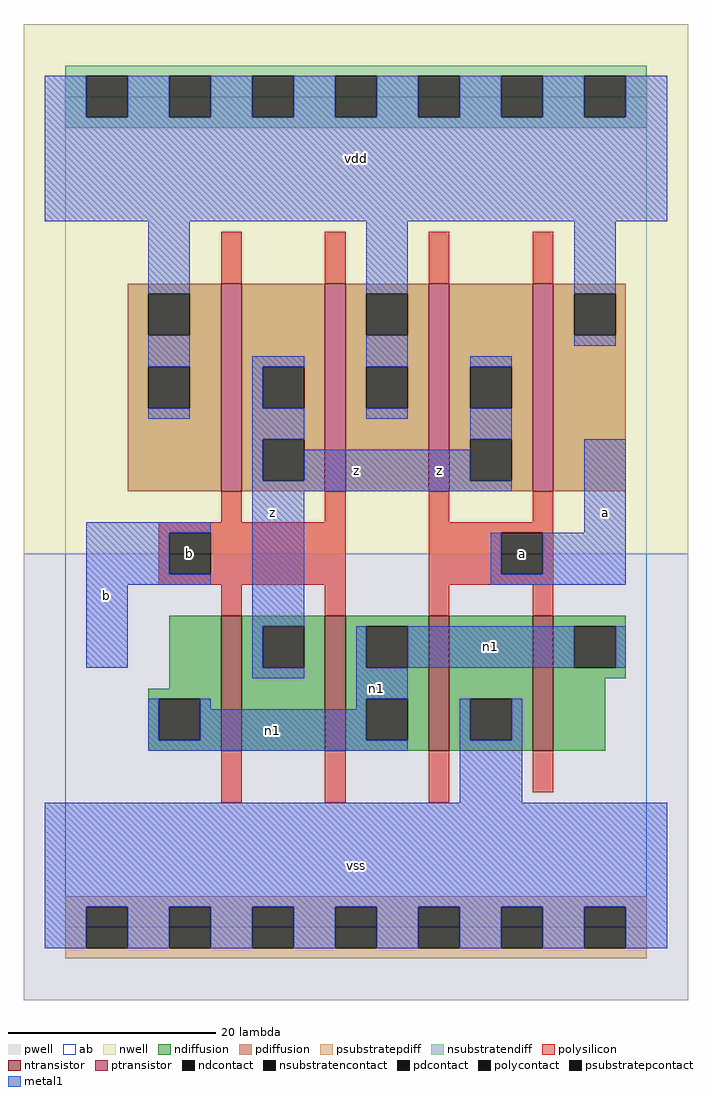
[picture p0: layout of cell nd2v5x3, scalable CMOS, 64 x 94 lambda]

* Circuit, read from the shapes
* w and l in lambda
.subckt nd2v5x3 a b n1 vdd vss z
M1 z b n1 vss nfet w=13 l=2 m=2
M2 vss a n1 vss nfet w=13 l=2 m=2
M3 z b vdd vdd pfet w=20 l=2 m=2
M4 z a vdd vdd pfet w=20 l=2 m=2
.ends

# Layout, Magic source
magic
tech scmos
<< ab >>
rect 0 0 56 80
<< pwell >>
rect -4 -7 60 36
<< nwell >>
rect -4 36 60 87
<< polysilicon >>
rect 15 62 17 67
rect 25 62 27 67
rect 35 62 37 67
rect 45 62 47 67
rect 15 39 17 42
rect 25 39 27 42
rect 9 38 27 39
rect 9 34 10 38
rect 14 34 27 38
rect 9 33 27 34
rect 15 30 17 33
rect 25 30 27 33
rect 35 39 37 42
rect 45 39 47 42
rect 35 38 47 39
rect 35 34 42 38
rect 46 34 47 38
rect 35 33 47 34
rect 35 30 37 33
rect 45 30 47 33
rect 15 12 17 17
rect 25 12 27 17
rect 35 12 37 17
rect 45 13 47 17
<< ndiffusion >>
rect 10 23 15 30
rect 8 22 15 23
rect 8 18 9 22
rect 13 18 15 22
rect 8 17 15 18
rect 17 29 25 30
rect 17 25 19 29
rect 23 25 25 29
rect 17 17 25 25
rect 27 29 35 30
rect 27 25 29 29
rect 33 25 35 29
rect 27 22 35 25
rect 27 18 29 22
rect 33 18 35 22
rect 27 17 35 18
rect 37 22 45 30
rect 37 18 39 22
rect 43 18 45 22
rect 37 17 45 18
rect 47 29 54 30
rect 47 25 49 29
rect 53 25 54 29
rect 47 24 54 25
rect 47 17 52 24
<< pdiffusion >>
rect 6 61 15 62
rect 6 57 8 61
rect 12 57 15 61
rect 6 54 15 57
rect 6 50 8 54
rect 12 50 15 54
rect 6 42 15 50
rect 17 54 25 62
rect 17 50 19 54
rect 23 50 25 54
rect 17 47 25 50
rect 17 43 19 47
rect 23 43 25 47
rect 17 42 25 43
rect 27 61 35 62
rect 27 57 29 61
rect 33 57 35 61
rect 27 54 35 57
rect 27 50 29 54
rect 33 50 35 54
rect 27 42 35 50
rect 37 54 45 62
rect 37 50 39 54
rect 43 50 45 54
rect 37 47 45 50
rect 37 43 39 47
rect 43 43 45 47
rect 37 42 45 43
rect 47 61 54 62
rect 47 57 49 61
rect 53 57 54 61
rect 47 42 54 57
<< metal1 >>
rect -2 78 2 82
rect 6 78 10 82
rect 14 78 18 82
rect 22 78 26 82
rect 30 78 34 82
rect 38 78 42 82
rect 46 78 50 82
rect 54 78 58 82
rect -2 68 58 78
rect 8 61 12 68
rect 8 54 12 57
rect 29 61 33 68
rect 8 49 12 50
rect 18 54 23 55
rect 18 50 19 54
rect 18 47 23 50
rect 29 54 33 57
rect 49 61 53 68
rect 49 56 53 57
rect 29 49 33 50
rect 39 54 43 55
rect 18 43 19 47
rect 39 47 43 50
rect 23 43 39 46
rect 18 42 43 43
rect 2 38 14 39
rect 2 34 10 38
rect 2 33 14 34
rect 2 25 6 33
rect 18 29 23 42
rect 50 38 54 47
rect 41 34 42 38
rect 46 34 54 38
rect 41 33 54 34
rect 18 25 19 29
rect 18 24 23 25
rect 28 25 29 29
rect 33 25 49 29
rect 53 25 54 29
rect 28 22 33 25
rect 8 18 9 22
rect 13 21 14 22
rect 28 21 29 22
rect 13 18 29 21
rect 8 17 33 18
rect 38 18 39 22
rect 43 18 44 22
rect 38 12 44 18
rect -2 2 58 12
rect -2 -2 2 2
rect 6 -2 10 2
rect 14 -2 18 2
rect 22 -2 26 2
rect 30 -2 34 2
rect 38 -2 42 2
rect 46 -2 50 2
rect 54 -2 58 2
<< ntransistor >>
rect 15 17 17 30
rect 25 17 27 30
rect 35 17 37 30
rect 45 17 47 30
<< ptransistor >>
rect 15 42 17 62
rect 25 42 27 62
rect 35 42 37 62
rect 45 42 47 62
<< polycontact >>
rect 10 34 14 38
rect 42 34 46 38
<< ndcontact >>
rect 9 18 13 22
rect 19 25 23 29
rect 29 25 33 29
rect 29 18 33 22
rect 39 18 43 22
rect 49 25 53 29
<< pdcontact >>
rect 8 57 12 61
rect 8 50 12 54
rect 19 50 23 54
rect 19 43 23 47
rect 29 57 33 61
rect 29 50 33 54
rect 39 50 43 54
rect 39 43 43 47
rect 49 57 53 61
<< psubstratepcontact >>
rect 2 -2 6 2
rect 10 -2 14 2
rect 18 -2 22 2
rect 26 -2 30 2
rect 34 -2 38 2
rect 42 -2 46 2
rect 50 -2 54 2
<< nsubstratencontact >>
rect 2 78 6 82
rect 10 78 14 82
rect 18 78 22 82
rect 26 78 30 82
rect 34 78 38 82
rect 42 78 46 82
rect 50 78 54 82
<< psubstratepdiff >>
rect 0 2 56 3
rect 0 -2 2 2
rect 6 -2 10 2
rect 14 -2 18 2
rect 22 -2 26 2
rect 30 -2 34 2
rect 38 -2 42 2
rect 46 -2 50 2
rect 54 -2 56 2
rect 0 -3 56 -2
<< nsubstratendiff >>
rect 0 82 56 83
rect 0 78 2 82
rect 6 78 10 82
rect 14 78 18 82
rect 22 78 26 82
rect 30 78 34 82
rect 38 78 42 82
rect 46 78 50 82
rect 54 78 56 82
rect 0 77 56 78
<< labels >>
rlabel metal1 4 32 4 32 6 b
rlabel polycontact 12 36 12 36 6 b
rlabel metal1 20 40 20 40 6 z
rlabel metal1 28 6 28 6 6 vss
rlabel metal1 30 23 30 23 6 n1
rlabel metal1 20 19 20 19 6 n1
rlabel metal1 36 44 36 44 6 z
rlabel metal1 28 44 28 44 6 z
rlabel metal1 28 74 28 74 6 vdd
rlabel polycontact 44 36 44 36 6 a
rlabel metal1 41 27 41 27 6 n1
rlabel metal1 52 40 52 40 6 a
<< end >>
